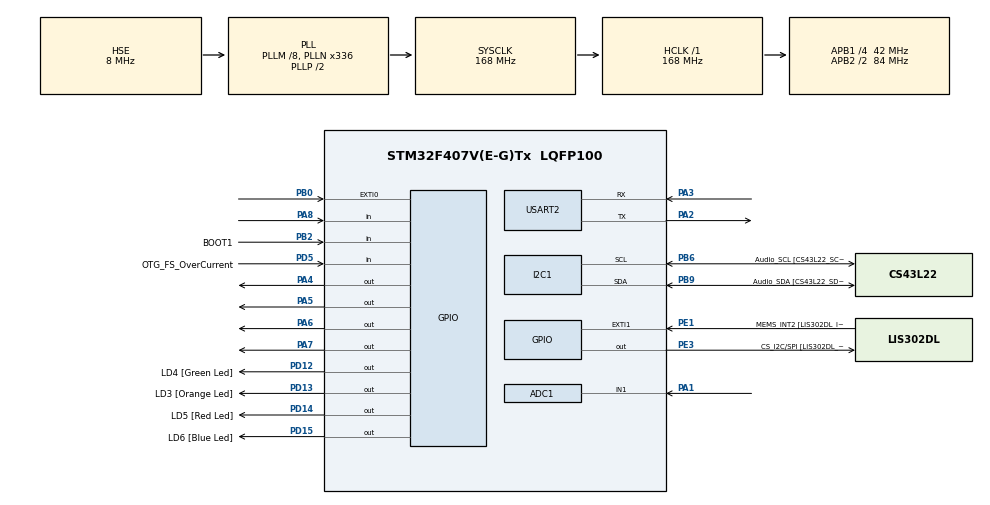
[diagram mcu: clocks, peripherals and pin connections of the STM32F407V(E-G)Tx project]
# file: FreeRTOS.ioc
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ADC1.Channel-0\#ChannelRegularConversion=ADC_CHANNEL_1
ADC1.ContinuousConvMode=DISABLE
ADC1.NbrOfConversionFlag=1
ADC1.Rank-0\#ChannelRegularConversion=1
ADC1.SamplingTime-0\#ChannelRegularConversion=ADC_SAMPLETIME_3CYCLES
ADC1.ScanConvMode=ENABLE
ADC1.master=1
FREERTOS.Tasks01=defaultTask,1,128,StartDefaultTask,Default,NULL,Dynamic,NULL,NULL;TareaBaja,-2,128,StartTareaBaja,Default,NULL,Dynamic,NULL,NULL;TareaAlta,2,128,StartTareaAlta,Default,NULL,Dynamic,NULL,NULL;TareaSensor,-2,128,StartTareaSensor,Default,NULL,Dynamic,NULL,NULL
FREERTOS.configUSE_NEWLIB_REENTRANT=1
Mcu.Family=STM32F4
Mcu.Name=STM32F407V(E-G)Tx
Mcu.Package=LQFP100
NVIC.EXTI0_IRQn=true\:5\:0\:false\:false\:true\:false\:true\:true\:true
NVIC.PriorityGroup=NVIC_PRIORITYGROUP_4
NVIC.TIM6_DAC_IRQn=true\:15\:0\:false\:false\:true\:false\:false\:true\:true
NVIC.TimeBase=TIM6_DAC_IRQn
NVIC.TimeBaseIP=TIM6
PA1.Signal=ADCx_IN1
PA10.GPIO_Label=OTG_FS_ID
PA10.GPIO_Mode=GPIO_MODE_AF_PP
PA10.GPIO_PuPd=GPIO_NOPULL
PA10.GPIO_Speed=GPIO_SPEED_FREQ_LOW
PA10.Signal=USB_OTG_FS_ID
PA11.GPIO_Label=OTG_FS_DM
PA11.GPIO_Mode=GPIO_MODE_AF_PP
PA11.GPIO_PuPd=GPIO_NOPULL
PA11.GPIO_Speed=GPIO_SPEED_FREQ_LOW
PA11.Signal=USB_OTG_FS_DM
PA12.GPIO_Label=OTG_FS_DP
PA12.GPIO_Mode=GPIO_MODE_AF_PP
PA12.GPIO_PuPd=GPIO_NOPULL
PA12.GPIO_Speed=GPIO_SPEED_FREQ_LOW
PA12.Signal=USB_OTG_FS_DP
PA13.GPIO_Label=SWDIO
PA13.Mode=Serial_Wire
PA13.Signal=SYS_JTMS-SWDIO
PA14.GPIO_Label=SWCLK
PA14.Mode=Serial_Wire
PA14.Signal=SYS_JTCK-SWCLK
PA2.Mode=Asynchronous
PA2.Signal=USART2_TX
PA3.Mode=Asynchronous
PA3.Signal=USART2_RX
PA4.Signal=GPIO_Output
PA5.Signal=GPIO_Output
PA6.Signal=GPIO_Output
PA7.GPIO_PuPd=GPIO_NOPULL
PA7.Signal=GPIO_Output
PA8.Signal=GPIO_Input
PA9.GPIO_Label=VBUS_FS
PA9.GPIO_Mode=GPIO_MODE_INPUT
PA9.GPIO_PuPd=GPIO_NOPULL
PA9.Signal=USB_OTG_FS_VBUS
PB0.GPIO_ModeDefaultEXTI=GPIO_MODE_IT_FALLING
PB0.GPIO_PuPd=GPIO_PULLUP
PB0.Signal=GPXTI0
PB10.GPIO_Label=CLK_IN [MP45DT02_CLK]
PB10.GPIO_Mode=GPIO_MODE_AF_PP
PB10.GPIO_PuPd=GPIO_NOPULL
PB10.GPIO_Speed=GPIO_SPEED_FREQ_LOW
PB10.Signal=I2S2_CK
PB2.GPIO_Label=BOOT1
PB2.GPIO_Mode=GPIO_MODE_INPUT
PB2.GPIO_PuPd=GPIO_NOPULL
PB2.Signal=GPIO_Input
PB3.GPIO_Label=SWO
PB3.Signal=SYS_JTDO-SWO
PB6.GPIO_Label=Audio_SCL [CS43L22_SCL]
PB6.GPIO_Mode=GPIO_MODE_AF_OD
PB6.GPIO_Pu=GPIO_PULLUP
PB6.GPIO_PuPd=GPIO_NOPULL
PB6.GPIO_Speed=GPIO_SPEED_FREQ_LOW
PB6.Mode=I2C
PB6.Signal=I2C1_SCL
PB9.GPIO_Label=Audio_SDA [CS43L22_SDA]
PB9.GPIO_Mode=GPIO_MODE_AF_OD
PB9.GPIO_Pu=GPIO_PULLUP
PB9.GPIO_PuPd=GPIO_NOPULL
PB9.GPIO_Speed=GPIO_SPEED_FREQ_LOW
PB9.Mode=I2C
PB9.Signal=I2C1_SDA
PC10.GPIO_Label=I2S3_SCK [CS43L22_SCLK]
PC10.GPIO_Mode=GPIO_MODE_AF_PP
PC10.GPIO_PuPd=GPIO_NOPULL
PC10.GPIO_Speed=GPIO_SPEED_FREQ_LOW
PC10.Signal=I2S3_CK
PC12.GPIO_Label=I2S3_SD [CS43L22_SDIN]
PC12.GPIO_Mode=GPIO_MODE_AF_PP
PC12.GPIO_PuPd=GPIO_NOPULL
PC12.GPIO_Speed=GPIO_SPEED_FREQ_LOW
PC12.Signal=I2S3_SD
PC14-OSC32_IN.GPIO_Label=PC14-OSC32_IN
PC14-OSC32_IN.Mode=LSE-External-Oscillator
PC14-OSC32_IN.Signal=RCC_OSC32_IN
PC15-OSC32_OUT.GPIO_Label=PC15-OSC32_OUT
PC15-OSC32_OUT.Mode=LSE-External-Oscillator
PC15-OSC32_OUT.Signal=RCC_OSC32_OUT
PC7.GPIO_Label=I2S3_MCK [CS43L22_MCLK]
PC7.GPIO_Mode=GPIO_MODE_AF_PP
PC7.GPIO_PuPd=GPIO_NOPULL
PC7.GPIO_Speed=GPIO_SPEED_FREQ_LOW
PC7.Signal=I2S3_MCK
PD12.GPIO_Label=LD4 [Green Led]
PD12.GPIO_PuPd=GPIO_NOPULL
PD12.GPIO_Speed=GPIO_SPEED_FREQ_LOW
PD12.Signal=GPIO_Output
PD13.GPIO_Label=LD3 [Orange Led]
PD13.GPIO_PuPd=GPIO_NOPULL
PD13.GPIO_Speed=GPIO_SPEED_FREQ_LOW
PD13.Signal=GPIO_Output
PD14.GPIO_Label=LD5 [Red Led]
PD14.GPIO_PuPd=GPIO_NOPULL
PD14.GPIO_Speed=GPIO_SPEED_FREQ_LOW
PD14.Signal=GPIO_Output
PD15.GPIO_Label=LD6 [Blue Led]
PD15.GPIO_PuPd=GPIO_NOPULL
PD15.GPIO_Speed=GPIO_SPEED_FREQ_LOW
PD15.Signal=GPIO_Output
PD5.GPIO_Label=OTG_FS_OverCurrent
PD5.GPIO_Mode=GPIO_MODE_INPUT
PD5.GPIO_PuPd=GPIO_NOPULL
PD5.Signal=GPIO_Input
PE1.GPIO_Label=MEMS_INT2 [LIS302DL_INT2]
PE1.GPIO_ModeDefaultEXTI=GPIO_MODE_EVT_RISING
PE1.GPIO_PuPd=GPIO_NOPULL
PE1.Signal=GPXTI1
PE3.GPIO_Label=CS_I2C/SPI [LIS302DL_CS_I2C/SPI]
PE3.GPIO_PuPd=GPIO_NOPULL
PE3.GPIO_Speed=GPIO_SPEED_FREQ_LOW
PE3.Signal=GPIO_Output
PH0-OSC_IN.GPIO_Label=PH0-OSC_IN
PH0-OSC_IN.Mode=HSE-External-Oscillator
PH0-OSC_IN.Signal=RCC_OSC_IN
PH1-OSC_OUT.GPIO_Label=PH1-OSC_OUT
PH1-OSC_OUT.Mode=HSE-External-Oscillator
PH1-OSC_OUT.Signal=RCC_OSC_OUT
ProjectManager.HeapSize=0x200
ProjectManager.StackSize=0x400
ProjectManager.TargetToolchain=STM32CubeIDE
RCC.48MHZClocksFreq_Value=48000000
RCC.AHBFreq_Value=168000000
RCC.APB1CLKDivider=RCC_HCLK_DIV4
RCC.APB1Freq_Value=42000000
RCC.APB1TimFreq_Value=84000000
RCC.APB2CLKDivider=RCC_HCLK_DIV2
RCC.APB2Freq_Value=84000000
RCC.APB2TimFreq_Value=168000000
RCC.CortexFreq_Value=168000000
RCC.HCLKFreq_Value=168000000
RCC.HSE_VALUE=8000000
RCC.HSI_VALUE=16000000
RCC.PLLM=8
RCC.PLLN=336
RCC.PLLQ=7
RCC.PLLSourceVirtual=RCC_PLLSOURCE_HSE
RCC.SYSCLKFreq_VALUE=168000000
RCC.SYSCLKSource=RCC_SYSCLKSOURCE_PLLCLK
RCC.VCOOutputFreq_Value=336000000
SH.ADCx_IN1.0=ADC1_IN1,IN1
USART2.VirtualMode=VM_ASYNC
VP_FREERTOS_VS_CMSIS_V1.Mode=CMSIS_V1
VP_SYS_VS_tim6.Mode=TIM6
board=STM32F407G-DISC1

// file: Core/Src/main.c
/* USER CODE BEGIN Header */
/**
  ******************************************************************************
  * @file           : main.c
  * @brief          : Main program body
  ******************************************************************************
  * @attention
  *
  * Copyright (c) 2025 STMicroelectronics.
  * All rights reserved.
  *
  * This software is licensed under terms that can be found in the LICENSE file
  * in the root directory of this software component.
  * If no LICENSE file comes with this software, it is provided AS-IS.
  *
  ******************************************************************************
  */
/* USER CODE END Header */
#include "main.h"
#include "cmsis_os.h"

/* USER CODE BEGIN Includes */
#include <stdio.h>
extern void StartDefaultTask(void const * argument);
extern void StartTareaBaja(void const * argument);
extern void StartTareaAlta(void const * argument);

/* USER CODE END Includes */

ADC_HandleTypeDef hadc1;

I2C_HandleTypeDef hi2c1;

UART_HandleTypeDef huart2;

osThreadId defaultTaskHandle;
osThreadId TareaBajaHandle;
osThreadId TareaAltaHandle;

void SystemClock_Config(void);
static void MX_GPIO_Init(void);
static void MX_I2C1_Init(void);
static void MX_ADC1_Init(void);
static void MX_USART2_UART_Init(void);
void StartDefaultTask(void const * argument);
void StartTareaBaja(void const * argument);
void StartTareaAlta(void const * argument);
volatile uint8_t led_rojo_activado = 1;

/* USER CODE BEGIN 0 */

int __io_putchar(int ch)
{
    HAL_UART_Transmit(&huart2, (uint8_t *)&ch, 1, HAL_MAX_DELAY);
    return ch;
}

void HAL_GPIO_EXTI_Callback(uint16_t GPIO_Pin)
{
    if (GPIO_Pin == GPIO_PIN_0)  // PB0
    {
        static uint32_t last_press_time = 0;
        uint32_t now = HAL_GetTick();

        if ((now - last_press_time) > 200)  // 200 ms de antirrebote
        {
            last_press_time = now;

            led_rojo_activado = !led_rojo_activado; // Cambia entre 1 y 0
            printf("Tarea Alta Activada por Interrupcion \r\n");

            // Aquí puedes dar un semáforo a una tarea si lo deseas más adelante
        }
    }
}

/* USER CODE END 0 */

int main(void)
{

  /* MCU Configuration--------------------------------------------------------*/

  /* Reset of all peripherals, Initializes the Flash interface and the Systick. */
  HAL_Init();

  /* Configure the system clock */
  SystemClock_Config();

  /* Initialize all configured peripherals */
  MX_GPIO_Init();
  MX_I2C1_Init();
  MX_ADC1_Init();
  MX_USART2_UART_Init();

  /* Create the thread(s) */
  	  osThreadDef(defaultTask, StartDefaultTask, osPriorityAboveNormal, 0, 128);
  	  defaultTaskHandle = osThreadCreate(osThread(defaultTask), NULL);

  	  /* definition and creation of TareaBaja */
  	  osThreadDef(TareaBaja, StartTareaBaja, osPriorityLow, 0, 128);
  	  TareaBajaHandle = osThreadCreate(osThread(TareaBaja), NULL);

  	  /* definition and creation of TareaAlta */
  	  osThreadDef(TareaAlta, StartTareaAlta, osPriorityHigh, 0, 128);
  	  TareaAltaHandle = osThreadCreate(osThread(TareaAlta), NULL);

  	  /* definition and creation of TareaSensor */
  /* definition and creation of defaultTask */

  /* Start scheduler */
  osKernelStart();

  /* We should never get here as control is now taken by the scheduler */

  /* Infinite loop */
  while (1)
  {

  }
}

void SystemClock_Config(void)
{
  RCC_OscInitTypeDef RCC_OscInitStruct = {0};
  RCC_ClkInitTypeDef RCC_ClkInitStruct = {0};

  /** Configure the main internal regulator output voltage
  */
  __HAL_RCC_PWR_CLK_ENABLE();
  __HAL_PWR_VOLTAGESCALING_CONFIG(PWR_REGULATOR_VOLTAGE_SCALE1);

  /** Initializes the RCC Oscillators according to the specified parameters
  * in the RCC_OscInitTypeDef structure.
  */
  RCC_OscInitStruct.OscillatorType = RCC_OSCILLATORTYPE_HSE;
  RCC_OscInitStruct.HSEState = RCC_HSE_ON;
  RCC_OscInitStruct.PLL.PLLState = RCC_PLL_ON;
  RCC_OscInitStruct.PLL.PLLSource = RCC_PLLSOURCE_HSE;
  RCC_OscInitStruct.PLL.PLLM = 8;
  RCC_OscInitStruct.PLL.PLLN = 336;
  RCC_OscInitStruct.PLL.PLLP = RCC_PLLP_DIV2;
  RCC_OscInitStruct.PLL.PLLQ = 7;
  if (HAL_RCC_OscConfig(&RCC_OscInitStruct) != HAL_OK)
  {
    Error_Handler();
  }

  /** Initializes the CPU, AHB and APB buses clocks
  */
  RCC_ClkInitStruct.ClockType = RCC_CLOCKTYPE_HCLK|RCC_CLOCKTYPE_SYSCLK
                              |RCC_CLOCKTYPE_PCLK1|RCC_CLOCKTYPE_PCLK2;
  RCC_ClkInitStruct.SYSCLKSource = RCC_SYSCLKSOURCE_PLLCLK;
  RCC_ClkInitStruct.AHBCLKDivider = RCC_SYSCLK_DIV1;
  RCC_ClkInitStruct.APB1CLKDivider = RCC_HCLK_DIV4;
  RCC_ClkInitStruct.APB2CLKDivider = RCC_HCLK_DIV2;

  if (HAL_RCC_ClockConfig(&RCC_ClkInitStruct, FLASH_LATENCY_5) != HAL_OK)
  {
    Error_Handler();
  }
}

static void MX_ADC1_Init(void)
{

  ADC_ChannelConfTypeDef sConfig = {0};

  /** Configure the global features of the ADC (Clock, Resolution, Data Alignment and number of conversion)
  */
  hadc1.Instance = ADC1;
  hadc1.Init.ClockPrescaler = ADC_CLOCK_SYNC_PCLK_DIV4;
  hadc1.Init.Resolution = ADC_RESOLUTION_12B;
  hadc1.Init.ScanConvMode = DISABLE;
  hadc1.Init.ContinuousConvMode = DISABLE;
  hadc1.Init.DiscontinuousConvMode = DISABLE;
  hadc1.Init.ExternalTrigConvEdge = ADC_EXTERNALTRIGCONVEDGE_NONE;
  hadc1.Init.ExternalTrigConv = ADC_SOFTWARE_START;
  hadc1.Init.DataAlign = ADC_DATAALIGN_RIGHT;
  hadc1.Init.NbrOfConversion = 1;
  hadc1.Init.DMAContinuousRequests = DISABLE;
  hadc1.Init.EOCSelection = ADC_EOC_SINGLE_CONV;
  if (HAL_ADC_Init(&hadc1) != HAL_OK)
  {
    Error_Handler();
  }

  /** Configure for the selected ADC regular channel its corresponding rank in the sequencer and its sample time.
  */
  sConfig.Channel = ADC_CHANNEL_1;
  sConfig.Rank = 1;
  sConfig.SamplingTime = ADC_SAMPLETIME_3CYCLES;
  if (HAL_ADC_ConfigChannel(&hadc1, &sConfig) != HAL_OK)
  {
    Error_Handler();
  }

}

static void MX_I2C1_Init(void)
{

  hi2c1.Instance = I2C1;
  hi2c1.Init.ClockSpeed = 100000;
  hi2c1.Init.DutyCycle = I2C_DUTYCYCLE_2;
  hi2c1.Init.OwnAddress1 = 0;
  hi2c1.Init.AddressingMode = I2C_ADDRESSINGMODE_7BIT;
  hi2c1.Init.DualAddressMode = I2C_DUALADDRESS_DISABLE;
  hi2c1.Init.OwnAddress2 = 0;
  hi2c1.Init.GeneralCallMode = I2C_GENERALCALL_DISABLE;
  hi2c1.Init.NoStretchMode = I2C_NOSTRETCH_DISABLE;
  if (HAL_I2C_Init(&hi2c1) != HAL_OK)
  {
    Error_Handler();
  }

}

static void MX_USART2_UART_Init(void)
{

  huart2.Instance = USART2;
  huart2.Init.BaudRate = 115200;
  huart2.Init.WordLength = UART_WORDLENGTH_8B;
  huart2.Init.StopBits = UART_STOPBITS_1;
  huart2.Init.Parity = UART_PARITY_NONE;
  huart2.Init.Mode = UART_MODE_TX_RX;
  huart2.Init.HwFlowCtl = UART_HWCONTROL_NONE;
  huart2.Init.OverSampling = UART_OVERSAMPLING_16;
  if (HAL_UART_Init(&huart2) != HAL_OK)
  {
    Error_Handler();
  }

}

static void MX_GPIO_Init(void)
{
  GPIO_InitTypeDef GPIO_InitStruct = {0};

  /* GPIO Ports Clock Enable */
  __HAL_RCC_GPIOE_CLK_ENABLE();
  __HAL_RCC_GPIOC_CLK_ENABLE();
  __HAL_RCC_GPIOH_CLK_ENABLE();
  __HAL_RCC_GPIOA_CLK_ENABLE();
  __HAL_RCC_GPIOB_CLK_ENABLE();
  __HAL_RCC_GPIOD_CLK_ENABLE();

  /*Configure GPIO pin Output Level */
  HAL_GPIO_WritePin(CS_I2C_SPI_GPIO_Port, CS_I2C_SPI_Pin, GPIO_PIN_RESET);

  /*Configure GPIO pin Output Level */
  HAL_GPIO_WritePin(GPIOA, GPIO_PIN_4|GPIO_PIN_5|GPIO_PIN_6|GPIO_PIN_7, GPIO_PIN_RESET);

  /*Configure GPIO pin Output Level */
  HAL_GPIO_WritePin(GPIOD, LD4_Pin|LD3_Pin|LD5_Pin|LD6_Pin, GPIO_PIN_RESET);

  /*Configure GPIO pin : CS_I2C_SPI_Pin */
  GPIO_InitStruct.Pin = CS_I2C_SPI_Pin;
  GPIO_InitStruct.Mode = GPIO_MODE_OUTPUT_PP;
  GPIO_InitStruct.Pull = GPIO_NOPULL;
  GPIO_InitStruct.Speed = GPIO_SPEED_FREQ_LOW;
  HAL_GPIO_Init(CS_I2C_SPI_GPIO_Port, &GPIO_InitStruct);

  /*Configure GPIO pins : PA4 PA5 PA6 PA7 */
  GPIO_InitStruct.Pin = GPIO_PIN_4|GPIO_PIN_5|GPIO_PIN_6|GPIO_PIN_7;
  GPIO_InitStruct.Mode = GPIO_MODE_OUTPUT_PP;
  GPIO_InitStruct.Pull = GPIO_NOPULL;
  GPIO_InitStruct.Speed = GPIO_SPEED_FREQ_LOW;
  HAL_GPIO_Init(GPIOA, &GPIO_InitStruct);

  /*Configure GPIO pin : PB0 */
  GPIO_InitStruct.Pin = GPIO_PIN_0;
  GPIO_InitStruct.Mode = GPIO_MODE_IT_FALLING;
  GPIO_InitStruct.Pull = GPIO_PULLUP;
  HAL_GPIO_Init(GPIOB, &GPIO_InitStruct);

  /*Configure GPIO pin : BOOT1_Pin */
  GPIO_InitStruct.Pin = BOOT1_Pin;
  GPIO_InitStruct.Mode = GPIO_MODE_INPUT;
  GPIO_InitStruct.Pull = GPIO_NOPULL;
  HAL_GPIO_Init(BOOT1_GPIO_Port, &GPIO_InitStruct);

  /*Configure GPIO pin : CLK_IN_Pin */
  GPIO_InitStruct.Pin = CLK_IN_Pin;
  GPIO_InitStruct.Mode = GPIO_MODE_AF_PP;
  GPIO_InitStruct.Pull = GPIO_NOPULL;
  GPIO_InitStruct.Speed = GPIO_SPEED_FREQ_LOW;
  GPIO_InitStruct.Alternate = GPIO_AF5_SPI2;
  HAL_GPIO_Init(CLK_IN_GPIO_Port, &GPIO_InitStruct);

  /*Configure GPIO pins : LD4_Pin LD3_Pin LD5_Pin LD6_Pin */
  GPIO_InitStruct.Pin = LD4_Pin|LD3_Pin|LD5_Pin|LD6_Pin;
  GPIO_InitStruct.Mode = GPIO_MODE_OUTPUT_PP;
  GPIO_InitStruct.Pull = GPIO_NOPULL;
  GPIO_InitStruct.Speed = GPIO_SPEED_FREQ_LOW;
  HAL_GPIO_Init(GPIOD, &GPIO_InitStruct);

  /*Configure GPIO pins : I2S3_MCK_Pin I2S3_SCK_Pin I2S3_SD_Pin */
  GPIO_InitStruct.Pin = I2S3_MCK_Pin|I2S3_SCK_Pin|I2S3_SD_Pin;
  GPIO_InitStruct.Mode = GPIO_MODE_AF_PP;
  GPIO_InitStruct.Pull = GPIO_NOPULL;
  GPIO_InitStruct.Speed = GPIO_SPEED_FREQ_LOW;
  GPIO_InitStruct.Alternate = GPIO_AF6_SPI3;
  HAL_GPIO_Init(GPIOC, &GPIO_InitStruct);

  /*Configure GPIO pin : PA8 */
  GPIO_InitStruct.Pin = GPIO_PIN_8;
  GPIO_InitStruct.Mode = GPIO_MODE_INPUT;
  GPIO_InitStruct.Pull = GPIO_NOPULL;
  HAL_GPIO_Init(GPIOA, &GPIO_InitStruct);

  /*Configure GPIO pin : VBUS_FS_Pin */
  GPIO_InitStruct.Pin = VBUS_FS_Pin;
  GPIO_InitStruct.Mode = GPIO_MODE_INPUT;
  GPIO_InitStruct.Pull = GPIO_NOPULL;
  HAL_GPIO_Init(VBUS_FS_GPIO_Port, &GPIO_InitStruct);

  /*Configure GPIO pins : OTG_FS_ID_Pin OTG_FS_DM_Pin OTG_FS_DP_Pin */
  GPIO_InitStruct.Pin = OTG_FS_ID_Pin|OTG_FS_DM_Pin|OTG_FS_DP_Pin;
  GPIO_InitStruct.Mode = GPIO_MODE_AF_PP;
  GPIO_InitStruct.Pull = GPIO_NOPULL;
  GPIO_InitStruct.Speed = GPIO_SPEED_FREQ_LOW;
  GPIO_InitStruct.Alternate = GPIO_AF10_OTG_FS;
  HAL_GPIO_Init(GPIOA, &GPIO_InitStruct);

  /*Configure GPIO pin : OTG_FS_OverCurrent_Pin */
  GPIO_InitStruct.Pin = OTG_FS_OverCurrent_Pin;
  GPIO_InitStruct.Mode = GPIO_MODE_INPUT;
  GPIO_InitStruct.Pull = GPIO_NOPULL;
  HAL_GPIO_Init(OTG_FS_OverCurrent_GPIO_Port, &GPIO_InitStruct);

  /*Configure GPIO pin : MEMS_INT2_Pin */
  GPIO_InitStruct.Pin = MEMS_INT2_Pin;
  GPIO_InitStruct.Mode = GPIO_MODE_EVT_RISING;
  GPIO_InitStruct.Pull = GPIO_NOPULL;
  HAL_GPIO_Init(MEMS_INT2_GPIO_Port, &GPIO_InitStruct);

  /* EXTI interrupt init*/
  HAL_NVIC_SetPriority(EXTI0_IRQn, 5, 0);
  HAL_NVIC_EnableIRQ(EXTI0_IRQn);

}

void StartDefaultTask(void const * argument)
{
  for(;;)
  {
    printf("Tarea Media ejecutada\r\n");
    HAL_GPIO_TogglePin(GPIOD, GPIO_PIN_13); // LED naranja

    //ActualizarEstadoTemperatura(); // Aquí se lee y se evalúa la temperatura

    osDelay(500);
  }
}

void StartTareaBaja(void const * argument)
{
  /* USER CODE BEGIN StartTareaBaja */
  /* Infinite loop */
  for(;;)
  {
	  HAL_GPIO_TogglePin(GPIOD, GPIO_PIN_12); // LED verde
	  osDelay(1000);
  }
  /* USER CODE END StartTareaBaja */
}

void StartTareaAlta(void const * argument)
{
  for(;;)
  {
      if (led_rojo_activado) {
          HAL_GPIO_WritePin(GPIOD, GPIO_PIN_14, GPIO_PIN_SET);   // ON
          osDelay(2000);
      } else {
          // LED apagado, espera sin hacer nada
          HAL_GPIO_WritePin(GPIOD, GPIO_PIN_14, GPIO_PIN_RESET);
          osDelay(500);
      }
  }
}

void HAL_TIM_PeriodElapsedCallback(TIM_HandleTypeDef *htim)
{
  if (htim->Instance == TIM6)
  {
    HAL_IncTick();
  }
}

void Error_Handler(void)
{
  __disable_irq();
  while (1)
  {
  }
}
